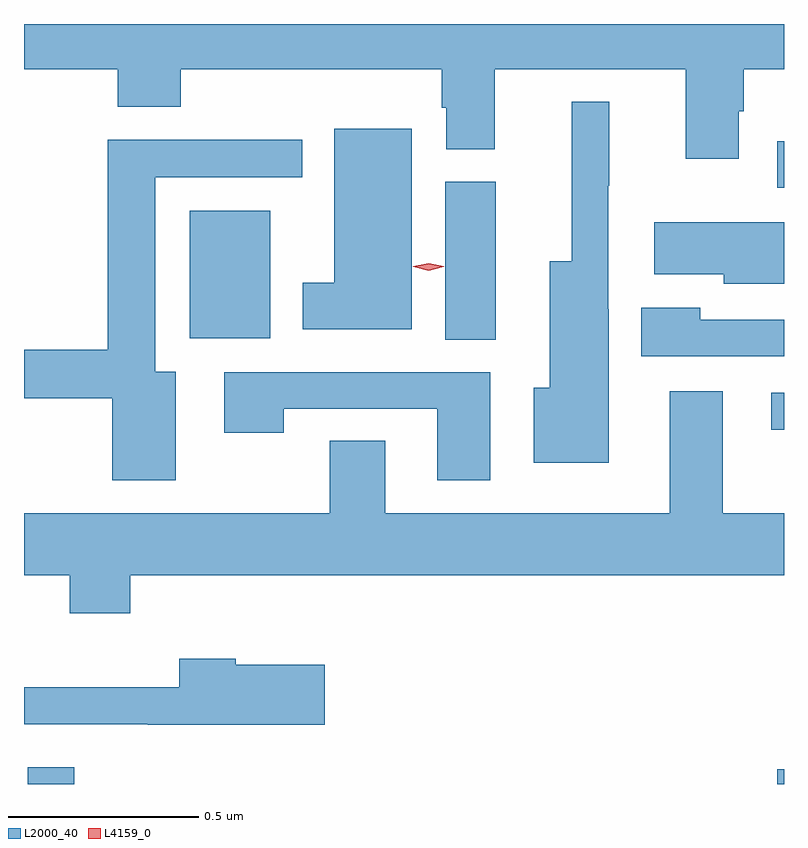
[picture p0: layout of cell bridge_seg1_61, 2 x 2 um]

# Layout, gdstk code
import gdstk
lib = gdstk.Library(unit=1e-6, precision=1e-09)
def R(c, l, rs):  # rectangles x0, y0, x1, y1
    for r in rs: c.add(gdstk.rectangle(r[:2], r[2:], *l))
def P(c, l, *ps):  # polygons
    for p in ps: c.add(gdstk.Polygon(p, *l))
L2000_40 = (2000, 40)
L4159_0 = (4159, 0)

bridge_seg1_61 = lib.new_cell('bridge_seg1_61')
R(bridge_seg1_61, L2000_40, [(489.26,565.835,489.382,565.879), (491.232,565.835,491.25,565.874), (491.217,566.767,491.25,566.865), (490.358,567.004,490.492,567.42), (489.686,567.008,489.898,567.343), (491.232,567.404,491.25,567.526)])
P(bridge_seg1_61, L2000_40, [(491.131,567.606),(491.144,567.606),(491.144,567.716),(491.25,567.716),(491.25,567.835),(489.25,567.835),(489.25,567.716),(489.497,567.716),(489.497,567.617),(489.662,567.617),(489.662,567.716),(490.349,567.716),(490.349,567.615),(490.361,567.615),(490.361,567.505),(490.489,567.505),(490.489,567.716),(490.991,567.716),(490.991,567.48),(491.131,567.48)],
  [(490.789,567.084),(490.788,567.084),(490.788,567.409),(490.79,567.409),(490.79,567.631),(490.691,567.631),(490.691,567.211),(490.634,567.211),(490.634,566.878),(490.592,566.878),(490.592,566.681),(490.789,566.681)],
  [(490.27,567.559),(490.067,567.559),(490.067,567.154),(489.983,567.154),(489.983,567.032),(490.27,567.032)],
  [(489.649,566.92),(489.595,566.92),(489.595,567.432),(489.982,567.432),(489.982,567.53),(489.47,567.53),(489.47,566.978),(489.25,566.978),(489.25,566.85),(489.482,566.85),(489.482,566.634),(489.649,566.634)],
  [(491.25,567.313),(490.908,567.313),(490.908,567.176),(491.091,567.176),(491.091,567.152),(491.25,567.152)],
  [(491.25,567.057),(491.03,567.057),(491.03,567.088),(490.874,567.088),(490.874,566.961),(491.25,566.961)],
  [(490.477,566.919),(489.777,566.919),(489.777,566.76),(489.933,566.76),(489.933,566.823),(490.337,566.823),(490.337,566.634),(490.477,566.634)],
  [(489.53,566.384),(491.25,566.384),(491.25,566.548),(491.089,566.548),(491.089,566.869),(490.949,566.869),(490.949,566.548),(490.201,566.548),(490.201,566.738),(490.054,566.738),(490.054,566.548),(489.25,566.548),(489.25,566.384),(489.37,566.384),(489.37,566.285),(489.53,566.285)],
  [(490.042,566.149),(489.807,566.149),(489.807,566.164),(489.659,566.164),(489.659,566.09),(489.25,566.09),(489.25,565.992),(489.575,565.992),(489.575,565.991),(490.042,565.991)])
P(bridge_seg1_61, L4159_0, [(490.315,567.186),(490.274,567.196),(490.274,567.197),(490.274,567.197),(490.315,567.206),(490.355,567.197),(490.355,567.196),(490.355,567.196)])

lib.write_gds('bridge_seg1_61.gds')
